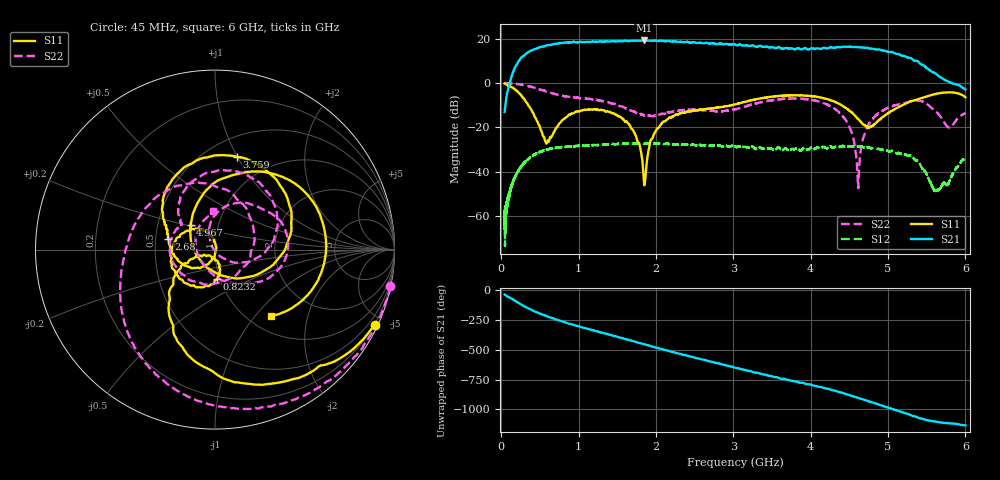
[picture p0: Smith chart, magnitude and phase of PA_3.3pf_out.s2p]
!Agilent Technologies,E8364A,US41440144,A.06.04.32
!Agilent E8364A: A.06.04.32
!Date: Thursday, November 08, 2018 14:50:07
!Correction: S11(Full 2 Port(1,2)) S21(Full 2 Port(1,2)) S12(Full 2 Port(1,2)) S22(Full 2 Port(1,2))
!S2P File: Measurements: S11, S21, S12, S22:
# Hz S  dB  R 50
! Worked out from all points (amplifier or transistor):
!   16001 points, 45 MHz to 6 GHz, reference 50 ohm
!   highest |S21| = 19.3 dB at 1.843 GHz (marker M1)
!   |S21| within 3 dB of that: 504 MHz to 3.446 GHz (2.942 GHz wide, 149 % of centre)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
!   unconditionally stable (mu >= 1): 45.59 MHz to 47.92 MHz; 50.26 MHz to 54.57 MHz; 54.87 MHz to end of sweep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
!   at 1.037 GHz: K = 1.25, MAG = 20.4 dB, |S12| = -28.3 dB
!   at 3.022 GHz: K = 1.69, MAG = 18.2 dB, |S12| = -28.6 dB
!   at 6 GHz: K = 25.74, MAG = -1.5 dB, |S12| = -34.1 dB
!   S11 on the Smith chart (normalised r, x): 45 MHz: 0.17, -4.48; 823.2 MHz: 0.97, -0.32; 2.68 GHz: 0.58, +0.08; 3.759 GHz: 0.69, +1.00; 4.967 GHz: 0.74, +0.21; 6 GHz: 1.25, -1.21
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4.5e7  -0.14 -25.1  -12.99 -35.0  -57.52 168.8  -0.03 -11.9
2.798503e8  -6.44 -119.7  12.08 -126.8  -36.82 72.8  -0.76 -73.9
5.005575e8  -19.64 -161.5  16.31 166.0  -31.07 12.9  -2.77 -124.9
8.232441e8  -15.82 -85.5  18.35 92.5  -28.75 -55.7  -5.85 -175.5
1.037624e9  -12.27 -125.2  18.67 50.9  -28.22 -92.5  -6.78 155.5
1.424327e9  -13.37 160.9  18.95 -15.9  -27.52 -152.2  -9.10 89.0
1.624564e9  -17.46 123.9  19.06 -52.2  -27.29 176.8  -11.53 42.4
1.843038e9  -44.10 12.1  19.34 -91.2  -27.26 143.3  -14.45 -29.1
2.030248e9  -20.24 -120.6  19.12 -125.1  -27.30 115.0  -14.37 -93.4
2.323532e9  -13.55 -161.7  18.80 -175.5  -27.69 71.9  -12.20 -163.8
2.680088e9  -11.49 167.0  18.05 126.4  -28.28 21.8  -12.37 151.1
3.0225e9  -9.56 149.5  17.43 71.2  -28.65 -26.7  -11.83 139.2
3.360074e9  -6.83 121.5  16.75 18.4  -29.36 -72.8  -8.63 117.2
3.759431e9  -5.49 76.7  15.73 -39.7  -29.74 -119.2  -6.91 72.2
4.015124e9  -5.88 43.9  15.81 -74.6  -29.26 -154.4  -7.60 38.8
4.328878e9  -8.68 -5.3  16.30 -124.9  -28.57 161.8  -12.08 -9.2
4.567078e9  -14.48 -57.1  16.39 -172.4  -28.57 118.8  -27.50 -54.2
4.966808e9  -14.34 135.3  14.62 102.6  -30.11 42.9  -11.69 73.0
5.007748e9  -13.42 127.3  14.09 95.1  -30.84 35.0  -11.04 66.6
5.304382e9  -8.11 85.6  11.18 29.7  -32.88 -31.7  -8.01 23.4
5.523228e9  -5.71 56.3  6.29 -11.2  -43.09 -81.6  -9.91 -33.1
6e9  -6.30 -49.9  -2.82 -53.9  -34.10 -112.8  -13.41 93.1
